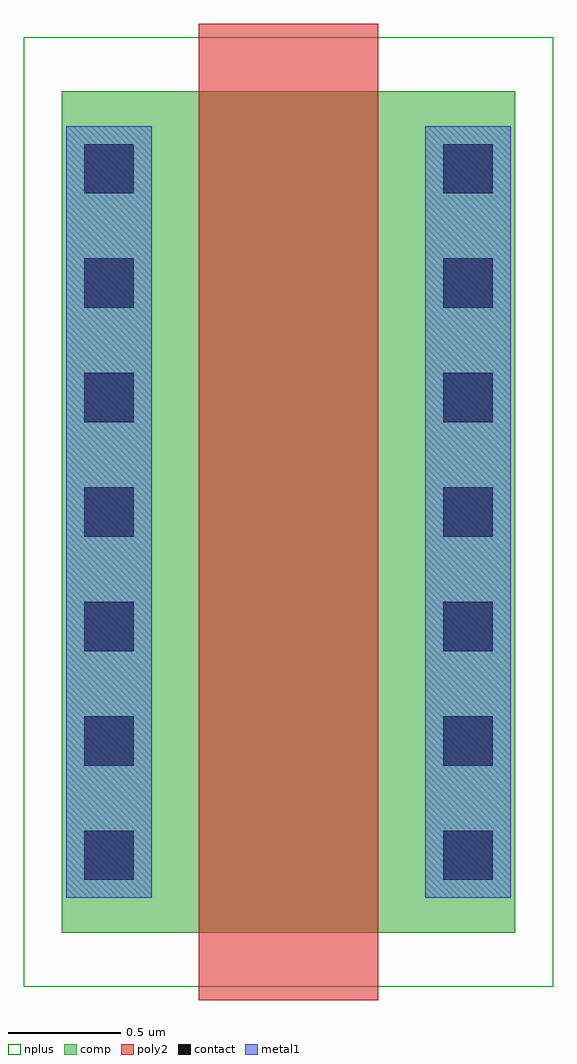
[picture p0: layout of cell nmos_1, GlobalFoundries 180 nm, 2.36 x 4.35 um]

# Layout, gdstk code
import gdstk
lib = gdstk.Library(unit=1e-6, precision=5e-09)
def R(c, l, rs):  # rectangles x0, y0, x1, y1
    for r in rs: c.add(gdstk.rectangle(r[:2], r[2:], *l))
def A(c, l, x, y, w, h, nx, ny, dx, dy):  # array of equal rectangles
    R(c, l, [(x+i*dx, y+j*dy, x+i*dx+w, y+j*dy+h) for i in range(nx) for j in range(ny)])
comp = (22, 0)
poly2 = (30, 0)
nplus = (32, 0)
contact = (33, 0)
metal1 = (34, 0)

nmos_1 = lib.new_cell('nmos_1')
R(nmos_1, comp, [(0.17,0.3,0.59,4.05), (0.59,0.3,1.77,4.05), (1.77,0.3,2.19,4.05)])
R(nmos_1, poly2, [(0.78,0,1.58,4.35)])
R(nmos_1, nplus, [(0,0.06,2.36,4.29)])
A(nmos_1, contact, 0.27, 0.535, 0.22, 0.22, 1, 7, 0, 0.51)
A(nmos_1, contact, 1.87, 0.535, 0.22, 0.22, 1, 7, 0, 0.51)
R(nmos_1, metal1, [(0.19,0.455,0.57,3.895), (1.79,0.455,2.17,3.895)])

lib.write_gds('nmos_1.gds')
